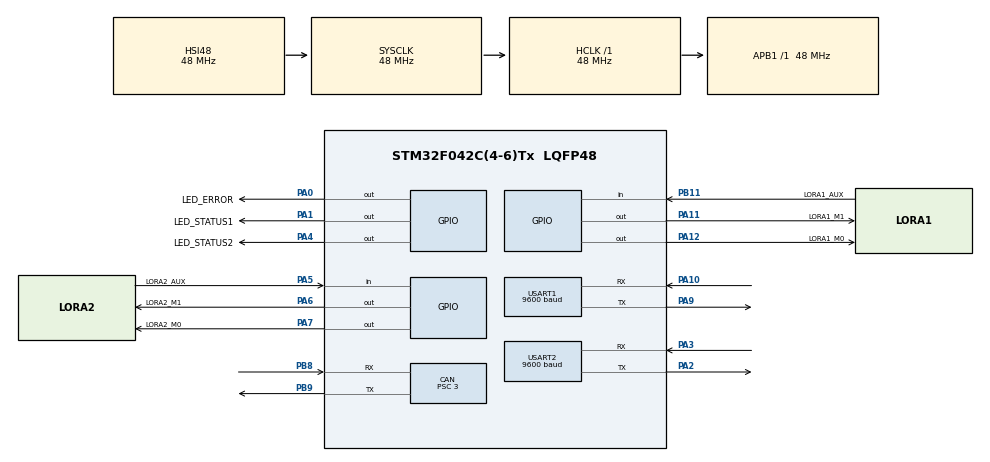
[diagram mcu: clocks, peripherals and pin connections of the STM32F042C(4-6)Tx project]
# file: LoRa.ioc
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CAN.BS1=CAN_BS1_12TQ
CAN.BS2=CAN_BS2_3TQ
CAN.CalculateBaudRate=1000000
CAN.CalculateTimeBit=1000
CAN.CalculateTimeQuantum=62.5
CAN.Prescaler=3
Dma.Request0=USART1_RX
Dma.Request1=USART1_TX
Dma.Request2=USART2_RX
Dma.Request3=USART2_TX
Dma.USART1_RX.0.Direction=DMA_PERIPH_TO_MEMORY
Dma.USART1_RX.0.Instance=DMA1_Channel3
Dma.USART1_RX.0.MemDataAlignment=DMA_MDATAALIGN_BYTE
Dma.USART1_RX.0.MemInc=DMA_MINC_ENABLE
Dma.USART1_RX.0.Mode=DMA_CIRCULAR
Dma.USART1_RX.0.PeriphDataAlignment=DMA_PDATAALIGN_BYTE
Dma.USART1_RX.0.PeriphInc=DMA_PINC_DISABLE
Dma.USART1_RX.0.Priority=DMA_PRIORITY_MEDIUM
Dma.USART1_TX.1.Direction=DMA_MEMORY_TO_PERIPH
Dma.USART1_TX.1.Instance=DMA1_Channel2
Dma.USART1_TX.1.MemDataAlignment=DMA_MDATAALIGN_BYTE
Dma.USART1_TX.1.MemInc=DMA_MINC_ENABLE
Dma.USART1_TX.1.Mode=DMA_NORMAL
Dma.USART1_TX.1.PeriphDataAlignment=DMA_PDATAALIGN_BYTE
Dma.USART1_TX.1.PeriphInc=DMA_PINC_DISABLE
Dma.USART1_TX.1.Priority=DMA_PRIORITY_LOW
Dma.USART2_RX.2.Direction=DMA_PERIPH_TO_MEMORY
Dma.USART2_RX.2.Instance=DMA1_Channel5
Dma.USART2_RX.2.MemDataAlignment=DMA_MDATAALIGN_BYTE
Dma.USART2_RX.2.MemInc=DMA_MINC_ENABLE
Dma.USART2_RX.2.Mode=DMA_CIRCULAR
Dma.USART2_RX.2.PeriphDataAlignment=DMA_PDATAALIGN_BYTE
Dma.USART2_RX.2.PeriphInc=DMA_PINC_DISABLE
Dma.USART2_RX.2.Priority=DMA_PRIORITY_MEDIUM
Dma.USART2_TX.3.Direction=DMA_MEMORY_TO_PERIPH
Dma.USART2_TX.3.Instance=DMA1_Channel4
Dma.USART2_TX.3.MemDataAlignment=DMA_MDATAALIGN_BYTE
Dma.USART2_TX.3.MemInc=DMA_MINC_ENABLE
Dma.USART2_TX.3.Mode=DMA_NORMAL
Dma.USART2_TX.3.PeriphDataAlignment=DMA_PDATAALIGN_BYTE
Dma.USART2_TX.3.PeriphInc=DMA_PINC_DISABLE
Dma.USART2_TX.3.Priority=DMA_PRIORITY_LOW
IWDG.Prescaler=IWDG_PRESCALER_16
IWDG.Reload=4095
IWDG.Window=4095
Mcu.Family=STM32F0
Mcu.Name=STM32F042C(4-6)Tx
Mcu.Package=LQFP48
NVIC.CEC_CAN_IRQn=true\:1\:0\:true\:false\:true\:true\:true\:true
NVIC.DMA1_Channel2_3_IRQn=true\:0\:0\:true\:false\:true\:false\:true\:true
NVIC.DMA1_Channel4_5_IRQn=true\:0\:0\:true\:false\:true\:false\:true\:true
NVIC.TIM14_IRQn=true\:3\:0\:true\:false\:true\:true\:true\:true
NVIC.USART1_IRQn=true\:1\:0\:true\:false\:true\:true\:true\:true
NVIC.USART2_IRQn=true\:1\:0\:true\:false\:true\:true\:true\:true
PA0.GPIO_Label=LED_ERROR
PA0.Signal=GPIO_Output
PA1.GPIO_Label=LED_STATUS1
PA1.Signal=GPIO_Output
PA10.GPIO_ModeDefaultPP=GPIO_MODE_AF_PP
PA10.GPIO_PuPd=GPIO_NOPULL
PA10.GPIO_Speed=GPIO_SPEED_FREQ_HIGH
PA10.Mode=Asynchronous
PA10.Signal=USART1_RX
PA11.GPIO_Label=LORA1_M1
PA11.Signal=GPIO_Output
PA12.GPIO_Label=LORA1_M0
PA12.Signal=GPIO_Output
PA13.Mode=Serial_Wire
PA13.Signal=SYS_SWDIO
PA14.Mode=Serial_Wire
PA14.Signal=SYS_SWCLK
PA2.GPIO_ModeDefaultPP=GPIO_MODE_AF_PP
PA2.GPIO_PuPd=GPIO_NOPULL
PA2.GPIO_Speed=GPIO_SPEED_FREQ_HIGH
PA2.Mode=Asynchronous
PA2.Signal=USART2_TX
PA3.GPIO_ModeDefaultPP=GPIO_MODE_AF_PP
PA3.GPIO_PuPd=GPIO_NOPULL
PA3.GPIO_Speed=GPIO_SPEED_FREQ_HIGH
PA3.Mode=Asynchronous
PA3.Signal=USART2_RX
PA4.GPIO_Label=LED_STATUS2
PA4.Signal=GPIO_Output
PA5.GPIO_Label=LORA2_AUX
PA5.GPIO_PuPd=GPIO_PULLUP
PA5.Signal=GPIO_Input
PA6.GPIO_Label=LORA2_M1
PA6.Signal=GPIO_Output
PA7.GPIO_Label=LORA2_M0
PA7.Signal=GPIO_Output
PA9.GPIO_ModeDefaultPP=GPIO_MODE_AF_PP
PA9.GPIO_PuPd=GPIO_NOPULL
PA9.GPIO_Speed=GPIO_SPEED_FREQ_HIGH
PA9.Mode=Asynchronous
PA9.Signal=USART1_TX
PB11.GPIO_Label=LORA1_AUX
PB11.GPIO_PuPd=GPIO_PULLUP
PB11.Signal=GPIO_Input
PB8.GPIO_PuPd=GPIO_PULLUP
PB8.Mode=CAN_Activate
PB8.Signal=CAN_RX
PB9.Mode=CAN_Activate
PB9.Signal=CAN_TX
PC14OSC32_IN.Mode=LSE-External-Oscillator
PC14OSC32_IN.Signal=RCC_OSC32_IN
PC15OSC32_OUT.Mode=LSE-External-Oscillator
PC15OSC32_OUT.Signal=RCC_OSC32_OUT
ProjectManager.HeapSize=0x200
ProjectManager.StackSize=0x400
ProjectManager.TargetToolchain=STM32CubeIDE
RCC.AHBFreq_Value=48000000
RCC.APB1Freq_Value=48000000
RCC.APB1TimFreq_Value=48000000
RCC.HCLKFreq_Value=48000000
RCC.SYSCLKFreq_VALUE=48000000
RCC.SYSCLKSource=RCC_SYSCLKSOURCE_HSI48
TIM14.Period=2000
TIM14.Prescaler=48000
USART1.BaudRate=9600
USART1.OverrunDisableParam=ADVFEATURE_OVERRUN_ENABLE
USART1.VirtualMode-Asynchronous=VM_ASYNC
USART2.BaudRate=9600
USART2.VirtualMode-Asynchronous=VM_ASYNC
VP_IWDG_VS_IWDG.Mode=IWDG_Activate
VP_TIM14_VS_ClockSourceINT.Mode=Enable_Timer
board=custom

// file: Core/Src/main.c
/* USER CODE BEGIN Header */
/**
  ******************************************************************************
  * @file           : main.c
  * @brief          : Main program body
  ******************************************************************************
  * @attention
  *
  * Copyright (c) 2023 STMicroelectronics.
  * All rights reserved.
  *
  * This software is licensed under terms that can be found in the LICENSE file
  * in the root directory of this software component.
  * If no LICENSE file comes with this software, it is provided AS-IS.
  *
  ******************************************************************************
  */
/* USER CODE END Header */
#include "main.h"

/* USER CODE BEGIN Includes */
#include "app.h"
/* USER CODE END Includes */

CAN_HandleTypeDef hcan;

IWDG_HandleTypeDef hiwdg;

TIM_HandleTypeDef htim14;

UART_HandleTypeDef huart1;
UART_HandleTypeDef huart2;
DMA_HandleTypeDef hdma_usart1_rx;
DMA_HandleTypeDef hdma_usart1_tx;
DMA_HandleTypeDef hdma_usart2_rx;
DMA_HandleTypeDef hdma_usart2_tx;

void SystemClock_Config(void);
static void MX_GPIO_Init(void);
static void MX_DMA_Init(void);
static void MX_CAN_Init(void);
static void MX_IWDG_Init(void);
static void MX_TIM14_Init(void);
static void MX_USART1_UART_Init(void);
static void MX_USART2_UART_Init(void);
/* USER CODE BEGIN PFP */
extern void initialise_monitor_handles(void);
/* USER CODE END PFP */

int main(void)
{
  /* USER CODE BEGIN 1 */
#ifdef DEBUG
  initialise_monitor_handles();
#endif
  /* USER CODE END 1 */

  /* MCU Configuration--------------------------------------------------------*/

  /* Reset of all peripherals, Initializes the Flash interface and the Systick. */
  HAL_Init();

  /* Configure the system clock */
  SystemClock_Config();

  /* Initialize all configured peripherals */
  MX_GPIO_Init();
  MX_DMA_Init();
  MX_CAN_Init();
  MX_IWDG_Init();
  MX_TIM14_Init();
  MX_USART1_UART_Init();
  MX_USART2_UART_Init();
  /* USER CODE BEGIN 2 */

  setup();

  /* USER CODE END 2 */

  /* Infinite loop */
  while (1)
  {

    /* USER CODE BEGIN 3 */
    loop();

#ifndef DEBUG
    HAL_IWDG_Refresh(&hiwdg);
#endif
  }
  /* USER CODE END 3 */
}

void SystemClock_Config(void)
{
  RCC_OscInitTypeDef RCC_OscInitStruct = {0};
  RCC_ClkInitTypeDef RCC_ClkInitStruct = {0};
  RCC_PeriphCLKInitTypeDef PeriphClkInit = {0};

  /** Initializes the RCC Oscillators according to the specified parameters
  * in the RCC_OscInitTypeDef structure.
  */
  RCC_OscInitStruct.OscillatorType = RCC_OSCILLATORTYPE_HSI48|RCC_OSCILLATORTYPE_LSI;
  RCC_OscInitStruct.HSI48State = RCC_HSI48_ON;
  RCC_OscInitStruct.LSIState = RCC_LSI_ON;
  RCC_OscInitStruct.PLL.PLLState = RCC_PLL_NONE;
  if (HAL_RCC_OscConfig(&RCC_OscInitStruct) != HAL_OK)
  {
    Error_Handler();
  }

  /** Initializes the CPU, AHB and APB buses clocks
  */
  RCC_ClkInitStruct.ClockType = RCC_CLOCKTYPE_HCLK|RCC_CLOCKTYPE_SYSCLK
                              |RCC_CLOCKTYPE_PCLK1;
  RCC_ClkInitStruct.SYSCLKSource = RCC_SYSCLKSOURCE_HSI48;
  RCC_ClkInitStruct.AHBCLKDivider = RCC_SYSCLK_DIV1;
  RCC_ClkInitStruct.APB1CLKDivider = RCC_HCLK_DIV1;

  if (HAL_RCC_ClockConfig(&RCC_ClkInitStruct, FLASH_LATENCY_1) != HAL_OK)
  {
    Error_Handler();
  }
  PeriphClkInit.PeriphClockSelection = RCC_PERIPHCLK_USART1;
  PeriphClkInit.Usart1ClockSelection = RCC_USART1CLKSOURCE_PCLK1;
  if (HAL_RCCEx_PeriphCLKConfig(&PeriphClkInit) != HAL_OK)
  {
    Error_Handler();
  }
}

static void MX_CAN_Init(void)
{

  hcan.Instance = CAN;
  hcan.Init.Prescaler = 3;
  hcan.Init.Mode = CAN_MODE_NORMAL;
  hcan.Init.SyncJumpWidth = CAN_SJW_1TQ;
  hcan.Init.TimeSeg1 = CAN_BS1_12TQ;
  hcan.Init.TimeSeg2 = CAN_BS2_3TQ;
  hcan.Init.TimeTriggeredMode = DISABLE;
  hcan.Init.AutoBusOff = DISABLE;
  hcan.Init.AutoWakeUp = DISABLE;
  hcan.Init.AutoRetransmission = DISABLE;
  hcan.Init.ReceiveFifoLocked = DISABLE;
  hcan.Init.TransmitFifoPriority = DISABLE;
  if (HAL_CAN_Init(&hcan) != HAL_OK)
  {
    Error_Handler();
  }

}

static void MX_IWDG_Init(void)
{

  /* USER CODE BEGIN IWDG_Init 0 */
#ifdef DEBUG
  return;
#endif
  /* USER CODE END IWDG_Init 0 */

  hiwdg.Instance = IWDG;
  hiwdg.Init.Prescaler = IWDG_PRESCALER_16;
  hiwdg.Init.Window = 4095;
  hiwdg.Init.Reload = 4095;
  if (HAL_IWDG_Init(&hiwdg) != HAL_OK)
  {
    Error_Handler();
  }

}

static void MX_TIM14_Init(void)
{

  htim14.Instance = TIM14;
  htim14.Init.Prescaler = 48000;
  htim14.Init.CounterMode = TIM_COUNTERMODE_UP;
  htim14.Init.Period = 2000;
  htim14.Init.ClockDivision = TIM_CLOCKDIVISION_DIV1;
  htim14.Init.AutoReloadPreload = TIM_AUTORELOAD_PRELOAD_DISABLE;
  if (HAL_TIM_Base_Init(&htim14) != HAL_OK)
  {
    Error_Handler();
  }

}

static void MX_USART1_UART_Init(void)
{

  huart1.Instance = USART1;
  huart1.Init.BaudRate = 9600;
  huart1.Init.WordLength = UART_WORDLENGTH_8B;
  huart1.Init.StopBits = UART_STOPBITS_1;
  huart1.Init.Parity = UART_PARITY_NONE;
  huart1.Init.Mode = UART_MODE_TX_RX;
  huart1.Init.HwFlowCtl = UART_HWCONTROL_NONE;
  huart1.Init.OverSampling = UART_OVERSAMPLING_16;
  huart1.Init.OneBitSampling = UART_ONE_BIT_SAMPLE_DISABLE;
  huart1.AdvancedInit.AdvFeatureInit = UART_ADVFEATURE_NO_INIT;
  if (HAL_UART_Init(&huart1) != HAL_OK)
  {
    Error_Handler();
  }
  /* USER CODE BEGIN USART1_Init 2 */
  __HAL_UART_DISABLE_IT(&huart1, UART_IT_PE);
  __HAL_UART_DISABLE_IT(&huart1, UART_IT_ERR);
  /* USER CODE END USART1_Init 2 */

}

static void MX_USART2_UART_Init(void)
{

  huart2.Instance = USART2;
  huart2.Init.BaudRate = 9600;
  huart2.Init.WordLength = UART_WORDLENGTH_8B;
  huart2.Init.StopBits = UART_STOPBITS_1;
  huart2.Init.Parity = UART_PARITY_NONE;
  huart2.Init.Mode = UART_MODE_TX_RX;
  huart2.Init.HwFlowCtl = UART_HWCONTROL_NONE;
  huart2.Init.OverSampling = UART_OVERSAMPLING_16;
  huart2.Init.OneBitSampling = UART_ONE_BIT_SAMPLE_DISABLE;
  huart2.AdvancedInit.AdvFeatureInit = UART_ADVFEATURE_NO_INIT;
  if (HAL_UART_Init(&huart2) != HAL_OK)
  {
    Error_Handler();
  }
  /* USER CODE BEGIN USART2_Init 2 */
  __HAL_UART_DISABLE_IT(&huart2, UART_IT_PE);
  __HAL_UART_DISABLE_IT(&huart2, UART_IT_ERR);
  /* USER CODE END USART2_Init 2 */

}

static void MX_DMA_Init(void)
{

  /* DMA controller clock enable */
  __HAL_RCC_DMA1_CLK_ENABLE();

  /* DMA interrupt init */
  /* DMA1_Channel2_3_IRQn interrupt configuration */
  HAL_NVIC_SetPriority(DMA1_Channel2_3_IRQn, 0, 0);
  HAL_NVIC_EnableIRQ(DMA1_Channel2_3_IRQn);
  /* DMA1_Channel4_5_IRQn interrupt configuration */
  HAL_NVIC_SetPriority(DMA1_Channel4_5_IRQn, 0, 0);
  HAL_NVIC_EnableIRQ(DMA1_Channel4_5_IRQn);

}

static void MX_GPIO_Init(void)
{
  GPIO_InitTypeDef GPIO_InitStruct = {0};

  /* GPIO Ports Clock Enable */
  __HAL_RCC_GPIOC_CLK_ENABLE();
  __HAL_RCC_GPIOA_CLK_ENABLE();
  __HAL_RCC_GPIOB_CLK_ENABLE();

  /*Configure GPIO pin Output Level */
  HAL_GPIO_WritePin(GPIOA, LED_ERROR_Pin|LED_STATUS1_Pin|LED_STATUS2_Pin|LORA2_M1_Pin
                          |LORA2_M0_Pin|LORA1_M1_Pin|LORA1_M0_Pin, GPIO_PIN_RESET);

  /*Configure GPIO pins : LED_ERROR_Pin LED_STATUS1_Pin LED_STATUS2_Pin LORA2_M1_Pin
                           LORA2_M0_Pin LORA1_M1_Pin LORA1_M0_Pin */
  GPIO_InitStruct.Pin = LED_ERROR_Pin|LED_STATUS1_Pin|LED_STATUS2_Pin|LORA2_M1_Pin
                          |LORA2_M0_Pin|LORA1_M1_Pin|LORA1_M0_Pin;
  GPIO_InitStruct.Mode = GPIO_MODE_OUTPUT_PP;
  GPIO_InitStruct.Pull = GPIO_NOPULL;
  GPIO_InitStruct.Speed = GPIO_SPEED_FREQ_LOW;
  HAL_GPIO_Init(GPIOA, &GPIO_InitStruct);

  /*Configure GPIO pin : LORA2_AUX_Pin */
  GPIO_InitStruct.Pin = LORA2_AUX_Pin;
  GPIO_InitStruct.Mode = GPIO_MODE_INPUT;
  GPIO_InitStruct.Pull = GPIO_PULLUP;
  HAL_GPIO_Init(LORA2_AUX_GPIO_Port, &GPIO_InitStruct);

  /*Configure GPIO pin : LORA1_AUX_Pin */
  GPIO_InitStruct.Pin = LORA1_AUX_Pin;
  GPIO_InitStruct.Mode = GPIO_MODE_INPUT;
  GPIO_InitStruct.Pull = GPIO_PULLUP;
  HAL_GPIO_Init(LORA1_AUX_GPIO_Port, &GPIO_InitStruct);

}

/* USER CODE BEGIN 4 */

void HAL_UART_TxCpltCallback(UART_HandleTypeDef *huart) {
    huart->gState = HAL_UART_STATE_READY;
}

/* USER CODE END 4 */

void Error_Handler(void)
{
  __disable_irq();
  while (1)
  {
  }
}
